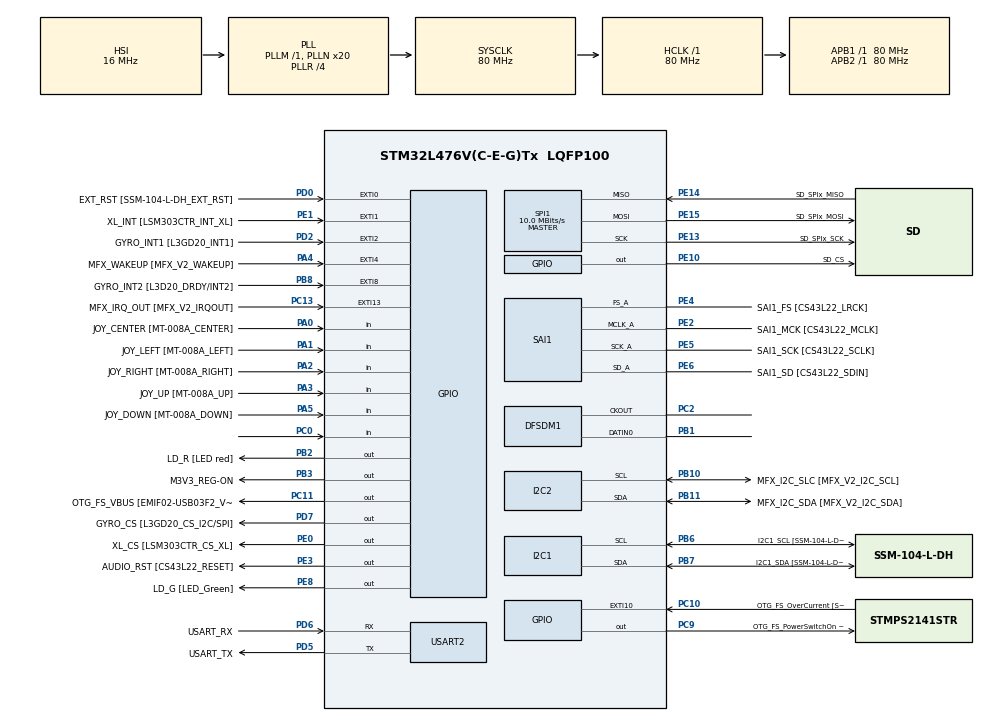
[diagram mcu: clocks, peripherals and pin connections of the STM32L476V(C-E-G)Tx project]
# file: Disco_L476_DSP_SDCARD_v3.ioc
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DFSDM1.Filter_regChannel_FIL0=DFSDM_CHANNEL_0
Dma.Request0=SAI1_A
Dma.SAI1_A.0.Direction=DMA_MEMORY_TO_PERIPH
Dma.SAI1_A.0.Instance=DMA2_Channel1
Dma.SAI1_A.0.MemDataAlignment=DMA_MDATAALIGN_HALFWORD
Dma.SAI1_A.0.MemInc=DMA_MINC_ENABLE
Dma.SAI1_A.0.Mode=DMA_CIRCULAR
Dma.SAI1_A.0.PeriphDataAlignment=DMA_PDATAALIGN_HALFWORD
Dma.SAI1_A.0.PeriphInc=DMA_PINC_DISABLE
Dma.SAI1_A.0.Priority=DMA_PRIORITY_HIGH
Mcu.Family=STM32L4
Mcu.Name=STM32L476V(C-E-G)Tx
Mcu.Package=LQFP100
NVIC.DMA2_Channel1_IRQn=true\:0\:0\:false\:false\:true\:false\:true
NVIC.PriorityGroup=NVIC_PRIORITYGROUP_4
PA0.GPIO_Label=JOY_CENTER [MT-008A_CENTER]
PA0.GPIO_Mode=GPIO_MODE_INPUT
PA0.GPIO_PuPd=GPIO_PULLDOWN
PA0.Signal=GPIO_Input
PA1.GPIO_Label=JOY_LEFT [MT-008A_LEFT]
PA1.GPIO_Mode=GPIO_MODE_INPUT
PA1.GPIO_PuPd=GPIO_PULLDOWN
PA1.Signal=GPIO_Input
PA10.GPIO_Label=COM2 [GH08172T_COM2]
PA10.GPIO_Mode=GPIO_MODE_AF_PP
PA10.GPIO_PuPd=GPIO_NOPULL
PA10.GPIO_Speed=GPIO_SPEED_FREQ_LOW
PA10.Signal=LCD_COM2
PA11.GPIO_Label=OTG_FS_DM [EMIF02-USB03F2_D-out]
PA11.GPIO_Mode=GPIO_MODE_AF_PP
PA11.GPIO_PuPd=GPIO_NOPULL
PA11.GPIO_Speed=GPIO_SPEED_FREQ_VERY_HIGH
PA11.Signal=USB_OTG_FS_DM
PA12.GPIO_Label=OTG_FS_DP [EMIF02-USB03F2_D+out]
PA12.GPIO_Mode=GPIO_MODE_AF_PP
PA12.GPIO_PuPd=GPIO_NOPULL
PA12.GPIO_Speed=GPIO_SPEED_FREQ_VERY_HIGH
PA12.Signal=USB_OTG_FS_DP
PA13\ (JTMS-SWDIO).GPIO_Label=SWDIO
PA13\ (JTMS-SWDIO).Mode=Serial_Wire
PA13\ (JTMS-SWDIO).Signal=SYS_JTMS-SWDIO
PA14\ (JTCK-SWCLK).GPIO_Label=SWCLK
PA14\ (JTCK-SWCLK).Mode=Serial_Wire
PA14\ (JTCK-SWCLK).Signal=SYS_JTCK-SWCLK
PA15\ (JTDI).GPIO_Label=SEG10 [GH08172T_SEG10]
PA15\ (JTDI).GPIO_Mode=GPIO_MODE_AF_PP
PA15\ (JTDI).GPIO_PuPd=GPIO_NOPULL
PA15\ (JTDI).GPIO_Speed=GPIO_SPEED_FREQ_LOW
PA15\ (JTDI).Signal=LCD_SEG17
PA2.GPIO_Label=JOY_RIGHT [MT-008A_RIGHT]
PA2.GPIO_Mode=GPIO_MODE_INPUT
PA2.GPIO_PuPd=GPIO_PULLDOWN
PA2.Signal=GPIO_Input
PA3.GPIO_Label=JOY_UP [MT-008A_UP]
PA3.GPIO_Mode=GPIO_MODE_INPUT
PA3.GPIO_PuPd=GPIO_PULLDOWN
PA3.Signal=GPIO_Input
PA4.GPIO_Label=MFX_WAKEUP [MFX_V2_WAKEUP]
PA4.GPIO_ModeDefaultEXTI=GPIO_MODE_EVT_RISING
PA4.GPIO_PuPd=GPIO_NOPULL
PA4.Signal=GPXTI4
PA5.GPIO_Label=JOY_DOWN [MT-008A_DOWN]
PA5.GPIO_Mode=GPIO_MODE_INPUT
PA5.GPIO_PuPd=GPIO_PULLDOWN
PA5.Signal=GPIO_Input
PB1.Signal=S_DATAIN0DFSDM1
PB10.GPIO_Label=MFX_I2C_SLC [MFX_V2_I2C_SCL]
PB10.GPIO_Mode=GPIO_MODE_AF_OD
PB10.GPIO_PuPdOD=GPIO_PULLUP
PB10.GPIO_Speed=GPIO_SPEED_FREQ_VERY_HIGH
PB10.Mode=I2C
PB10.Signal=I2C2_SCL
PB11.GPIO_Label=MFX_I2C_SDA [MFX_V2_I2C_SDA]
PB11.GPIO_Mode=GPIO_MODE_AF_OD
PB11.GPIO_PuPdOD=GPIO_PULLUP
PB11.GPIO_Speed=GPIO_SPEED_FREQ_VERY_HIGH
PB11.Mode=I2C
PB11.Signal=I2C2_SDA
PB2.GPIO_Label=LD_R [LED red]
PB2.GPIO_ModeDefaultOutputPP=GPIO_MODE_OUTPUT_PP
PB2.GPIO_PuPd=GPIO_PULLUP
PB2.GPIO_Speed=GPIO_SPEED_FREQ_VERY_HIGH
PB2.Signal=GPIO_Output
PB3\ (JTDO-TRACESWO).GPIO_Label=M3V3_REG-ON
PB3\ (JTDO-TRACESWO).GPIO_ModeDefaultOutputPP=GPIO_MODE_OUTPUT_PP
PB3\ (JTDO-TRACESWO).GPIO_PuPd=GPIO_NOPULL
PB3\ (JTDO-TRACESWO).GPIO_Speed=GPIO_SPEED_FREQ_LOW
PB3\ (JTDO-TRACESWO).Signal=GPIO_Output
PB6.GPIO_FM6=__NULL
PB6.GPIO_Label=I2C1_SCL [SSM-104-L-DH_SCL]
PB6.GPIO_Mode=GPIO_MODE_AF_OD
PB6.GPIO_PuPdOD=GPIO_PULLUP
PB6.GPIO_Speed=GPIO_SPEED_FREQ_VERY_HIGH
PB6.Mode=I2C
PB6.Signal=I2C1_SCL
PB7.GPIO_FM7=__NULL
PB7.GPIO_Label=I2C1_SDA [SSM-104-L-DH_SDA]
PB7.GPIO_Mode=GPIO_MODE_AF_OD
PB7.GPIO_PuPdOD=GPIO_PULLUP
PB7.GPIO_Speed=GPIO_SPEED_FREQ_VERY_HIGH
PB7.Mode=I2C
PB7.Signal=I2C1_SDA
PB8.GPIO_Label=GYRO_INT2 [L3D20_DRDY/INT2]
PB8.GPIO_ModeDefaultEXTI=GPIO_MODE_EVT_RISING
PB8.GPIO_PuPd=GPIO_NOPULL
PB8.Signal=GPXTI8
PC0.Signal=GPIO_Input
PC10.GPIO_Label=OTG_FS_OverCurrent [STMPS2141STR_FAULT]
PC10.GPIO_ModeDefaultEXTI=GPIO_MODE_EVT_RISING
PC10.GPIO_PuPd=GPIO_NOPULL
PC10.Signal=GPXTI10
PC11.GPIO_Label=OTG_FS_VBUS [EMIF02-USB03F2_Vbus]
PC11.GPIO_ModeDefaultOutputPP=GPIO_MODE_OUTPUT_PP
PC11.GPIO_PuPd=GPIO_NOPULL
PC11.GPIO_Speed=GPIO_SPEED_FREQ_LOW
PC11.Signal=GPIO_Output
PC13.GPIO_Label=MFX_IRQ_OUT [MFX_V2_IRQOUT]
PC13.GPIO_ModeDefaultEXTI=GPIO_MODE_EVT_RISING
PC13.GPIO_PuPd=GPIO_NOPULL
PC13.Signal=GPXTI13
PC14-OSC32_IN\ (PC14).Mode=LSE-External-Oscillator
PC14-OSC32_IN\ (PC14).Signal=RCC_OSC32_IN
PC15-OSC32_OUT\ (PC15).Mode=LSE-External-Oscillator
PC15-OSC32_OUT\ (PC15).Signal=RCC_OSC32_OUT
PC2.Signal=S_CKOUTDFSDM1
PC9.GPIO_Label=OTG_FS_PowerSwitchOn [STMPS2141STR_EN]
PC9.GPIO_ModeDefaultOutputPP=GPIO_MODE_OUTPUT_PP
PC9.GPIO_PuPd=GPIO_NOPULL
PC9.GPIO_Speed=GPIO_SPEED_FREQ_LOW
PC9.PinState=GPIO_PIN_SET
PC9.Signal=GPIO_Output
PD0.GPIO_Label=EXT_RST [SSM-104-L-DH_EXT_RST]
PD0.GPIO_ModeDefaultEXTI=GPIO_MODE_EVT_RISING
PD0.GPIO_PuPd=GPIO_NOPULL
PD0.Signal=GPXTI0
PD2.GPIO_Label=GYRO_INT1 [L3GD20_INT1]
PD2.GPIO_ModeDefaultEXTI=GPIO_MODE_EVT_RISING
PD2.GPIO_PuPd=GPIO_NOPULL
PD2.Signal=GPXTI2
PD5.GPIO_Label=USART_TX
PD5.GPIO_Mode=GPIO_MODE_AF_PP
PD5.GPIO_PuPd=GPIO_PULLUP
PD5.GPIO_Speed=GPIO_SPEED_FREQ_VERY_HIGH
PD5.Mode=Asynchronous
PD5.Signal=USART2_TX
PD6.GPIO_Label=USART_RX
PD6.GPIO_Mode=GPIO_MODE_AF_PP
PD6.GPIO_PuPd=GPIO_PULLUP
PD6.GPIO_Speed=GPIO_SPEED_FREQ_VERY_HIGH
PD6.Mode=Asynchronous
PD6.Signal=USART2_RX
PD7.GPIO_Label=GYRO_CS [L3GD20_CS_I2C/SPI]
PD7.GPIO_ModeDefaultOutputPP=GPIO_MODE_OUTPUT_PP
PD7.GPIO_PuPd=GPIO_NOPULL
PD7.GPIO_Speed=GPIO_SPEED_FREQ_VERY_HIGH
PD7.Signal=GPIO_Output
PE0.GPIO_Label=XL_CS [LSM303CTR_CS_XL]
PE0.GPIO_ModeDefaultOutputPP=GPIO_MODE_OUTPUT_PP
PE0.GPIO_PuPd=GPIO_NOPULL
PE0.GPIO_Speed=GPIO_SPEED_FREQ_LOW
PE0.Signal=GPIO_Output
PE1.GPIO_Label=XL_INT [LSM303CTR_INT_XL]
PE1.GPIO_ModeDefaultEXTI=GPIO_MODE_EVT_RISING
PE1.GPIO_PuPd=GPIO_NOPULL
PE1.Signal=GPXTI1
PE10.GPIO_Label=SD_CS
PE10.Signal=GPIO_Output
PE13.GPIO_Label=SD_SPIx_SCK
PE13.Mode=Full_Duplex_Master
PE13.Signal=SPI1_SCK
PE14.GPIO_Label=SD_SPIx_MISO
PE14.Mode=Full_Duplex_Master
PE14.Signal=SPI1_MISO
PE15.GPIO_Label=SD_SPIx_MOSI
PE15.Mode=Full_Duplex_Master
PE15.Signal=SPI1_MOSI
PE2.GPIO_Label=SAI1_MCK [CS43L22_MCLK]
PE2.GPIO_Mode=GPIO_MODE_AF_PP
PE2.GPIO_PuPd=GPIO_NOPULL
PE2.GPIO_Speed=GPIO_SPEED_FREQ_VERY_HIGH
PE2.Mode=SAI_A_MasterWithClock
PE2.Signal=SAI1_MCLK_A
PE3.GPIO_Label=AUDIO_RST [CS43L22_RESET]
PE3.GPIO_ModeDefaultOutputPP=GPIO_MODE_OUTPUT_PP
PE3.GPIO_PuPd=GPIO_NOPULL
PE3.GPIO_Speed=GPIO_SPEED_FREQ_HIGH
PE3.Signal=GPIO_Output
PE4.GPIO_Label=SAI1_FS [CS43L22_LRCK]
PE4.GPIO_Mode=GPIO_MODE_AF_PP
PE4.GPIO_PuPd=GPIO_NOPULL
PE4.GPIO_Speed=GPIO_SPEED_FREQ_VERY_HIGH
PE4.Mode=SAI_A_MasterWithClock
PE4.Signal=SAI1_FS_A
PE5.GPIO_Label=SAI1_SCK [CS43L22_SCLK]
PE5.GPIO_Mode=GPIO_MODE_AF_PP
PE5.GPIO_PuPd=GPIO_NOPULL
PE5.GPIO_Speed=GPIO_SPEED_FREQ_VERY_HIGH
PE5.Mode=SAI_A_MasterWithClock
PE5.Signal=SAI1_SCK_A
PE6.GPIO_Label=SAI1_SD [CS43L22_SDIN]
PE6.GPIO_Mode=GPIO_MODE_AF_PP
PE6.GPIO_PuPd=GPIO_NOPULL
PE6.GPIO_Speed=GPIO_SPEED_FREQ_VERY_HIGH
PE6.Mode=SAI_A_MasterWithClock
PE6.Signal=SAI1_SD_A
PE7.GPIO_Label=AUDIO_DIN [MP34DT01_DOUT]
PE7.GPIO_Mode=GPIO_MODE_AF_PP
PE7.GPIO_PuPd=GPIO_NOPULL
PE7.GPIO_Speed=GPIO_SPEED_FREQ_VERY_HIGH
PE7.Signal=SAI1_SD_B
PE8.GPIO_Label=LD_G [LED_Green]
PE8.GPIO_ModeDefaultOutputPP=GPIO_MODE_OUTPUT_PP
PE8.GPIO_PuPd=GPIO_PULLUP
PE8.GPIO_Speed=GPIO_SPEED_FREQ_VERY_HIGH
PE8.Signal=GPIO_Output
PE9.GPIO_Label=AUDIO_CLK [MP34DT01_CLK]
PE9.GPIO_Mode=GPIO_MODE_AF_PP
PE9.GPIO_PuPd=GPIO_NOPULL
PE9.GPIO_Speed=GPIO_SPEED_FREQ_LOW
PE9.Signal=SAI1_FS_B
PH0-OSC_IN\ (PH0).Mode=HSE-External-Oscillator
PH0-OSC_IN\ (PH0).Signal=RCC_OSC_IN
PH1-OSC_OUT\ (PH1).Mode=HSE-External-Oscillator
PH1-OSC_OUT\ (PH1).Signal=RCC_OSC_OUT
ProjectManager.HeapSize=0x200
ProjectManager.StackSize=0x400
ProjectManager.TargetToolchain=STM32CubeIDE
RCC.ADCFreq_Value=96000000
RCC.AHBFreq_Value=80000000
RCC.APB1Freq_Value=80000000
RCC.APB1TimFreq_Value=80000000
RCC.APB2Freq_Value=80000000
RCC.APB2TimFreq_Value=80000000
RCC.CortexFreq_Value=80000000
RCC.HCLKFreq_Value=80000000
RCC.HSE_VALUE=8000000
RCC.HSI_VALUE=16000000
RCC.MSI_VALUE=4000000
RCC.PLLN=20
RCC.PLLR=RCC_PLLR_DIV4
RCC.PLLSAI1N=12
RCC.PLLSAI1P=RCC_PLLP_DIV17
RCC.PLLSourceVirtual=RCC_PLLSOURCE_HSI
RCC.PREFETCH_ENABLE=1
RCC.SYSCLKFreq_VALUE=80000000
RCC.SYSCLKSource=RCC_SYSCLKSOURCE_PLLCLK
RCC.USBFreq_Value=96000000
RCC.VCOOutputFreq_Value=320000000
SAI1.ActiveFrameLength-SAI_A_MasterWithClock=16
SAI1.AudioFrequency-SAI_A_MasterWithClock=SAI_AUDIO_FREQUENCY_44K
SAI1.DataSize-SAI_A_MasterWithClock=SAI_DATASIZE_16
SAI1.ErrorAudioFreq-SAI_A_MasterWithClock=0.26 %
SAI1.FIFOThreshold-SAI_A_MasterWithClock=SAI_FIFOTHRESHOLD_1QF
SAI1.FSOffset-SAI_A_MasterWithClock=SAI_FS_BEFOREFIRSTBIT
SAI1.FirstBitOffset-SAI_A_MasterWithClock=0
SAI1.FrameLength-SAI_A_MasterWithClock=32
SAI1.Instance-SAI_A_MasterWithClock=SAI$Index_Block_A
SAI1.MClockEnable-SAI_A_MasterWithClock=SAI_MASTERCLOCK_ENABLE
SAI1.OutputDrive-SAI_A_MasterWithClock=SAI_OUTPUTDRIVE_ENABLE
SAI1.RealAudioFreq-SAI_A_MasterWithClock=44.117 KHz
SAI1.SlotActive-SAI_A_MasterWithClock=0x0000FFFF
SAI1.SlotNumber-SAI_A_MasterWithClock=2
SAI1.VirtualMode-SAI_A_MasterWithClock=VM_MASTER
SAI1.VirtualSlotActive-SAI_A_MasterWithClock=SAI_SLOTACTIVE_ALL
SH.S_CKOUTDFSDM1.0=DFSDM1_CKOUT,PDM_SPI_input_from_ch0_and_internal_clock
SH.S_DATAIN0DFSDM1.0=DFSDM1_DATIN0,PDM_SPI_input_from_ch0_and_internal_clock
SPI1.BaudRatePrescaler=SPI_BAUDRATEPRESCALER_8
SPI1.CalculateBaudRate=10.0 MBits/s
SPI1.DataSize=SPI_DATASIZE_8BIT
SPI1.Direction=SPI_DIRECTION_2LINES
SPI1.Mode=SPI_MODE_MASTER
SPI1.VirtualType=VM_MASTER
USART2.VirtualMode-Asynchronous=VM_ASYNC
board=STM32L476G-DISCO

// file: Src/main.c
/* USER CODE BEGIN Header */
/**
 ******************************************************************************
 * @file           : main.c
 * @brief          : Main program body
 ******************************************************************************
 * @attention
 *
 * <h2><center>&copy; Copyright (c) 2020 STMicroelectronics.
 * All rights reserved.</center></h2>
 *
 * This software component is licensed by ST under Ultimate Liberty license
 * SLA0044, the "License"; You may not use this file except in compliance with
 * the License. You may obtain a copy of the License at:
 *                             www.st.com/SLA0044
 *
 ******************************************************************************
 */
/* USER CODE END Header */

#include "main.h"

/* USER CODE BEGIN Includes */
#include "ff_gen_drv.h"
#include <math.h>
/* USER CODE END Includes */

DFSDM_Filter_HandleTypeDef hdfsdm1_filter0;
DFSDM_Channel_HandleTypeDef hdfsdm1_channel0;

I2C_HandleTypeDef hi2c1;
I2C_HandleTypeDef hi2c2;

SAI_HandleTypeDef hsai_BlockA1;
DMA_HandleTypeDef hdma_sai1_a;

SPI_HandleTypeDef hspi1;

UART_HandleTypeDef huart2;

/* USER CODE BEGIN PV */

/*
#define AUDIO_BUFFER_SIZE           (1024) // (1024 * 8)    // Size (in bytes) of the buffer containing the PCM samples
#define WAV_FILE_HEADER_SIZE        44              		// Size (in bytes) of a WAV header

FIL                       File;

uint8_t                   Buffer[AUDIO_BUFFER_SIZE];    // Buffer containig the PCM samples to play
uint32_t                  ActualPosition;               // Actual read offset
*/

FATFS FatFs;
char USER_Path[4];  /* USER logical drive path */
static uint8_t buffer[_MAX_SS]; /* a work buffer for the f_mkfs() */

uint8_t SerialFlag = 0;
uint8_t SerialCmd = 0;

// #define FIR_DEBUG
#ifdef FIR_DEBUG
#define BUFFER_SIZE_U8     64
#define BUFFER_SIZE_U16    (BUFFER_SIZE_U8/2)
#define BUFFER_SIZE_U32    (BUFFER_SIZE_U8/4)

#define BLOCK_SIZE_U8       32
#define BLOCK_SIZE_U16      (BLOCK_SIZE_U8/2)

static uint32_t blockSize = BLOCK_SIZE_U16;  					// 16-bit integer data is stored in a 32-bit real array
static uint32_t numBlocks = BUFFER_SIZE_U16/BLOCK_SIZE_U16;

#define NUM_TAPS0                       4
float32_t aFIR_F32_Coeffs0[NUM_TAPS0] = {
		   0.1f, 0.2f, 0.3f, 0.4f
};

float32_t 	firStateF32[BLOCK_SIZE_U16 + NUM_TAPS0 - 1];
float32_t 	aFIR_F32_Input [BUFFER_SIZE_U16];  // 16-bit integer data is stored in a 32-bit real array
float32_t 	aFIR_F32_Output[BUFFER_SIZE_U16];

typedef union
{
	uint32_t                    u32[BUFFER_SIZE_U32];
	uint16_t                    u16[BUFFER_SIZE_U16];
	uint8_t                     u8 [BUFFER_SIZE_U8 ];
} UINT_BUFFER;

UINT_BUFFER uint_buffer;
#endif
/* USER CODE END PV */

void SystemClock_Config(void);
static void MX_GPIO_Init(void);
static void MX_DMA_Init(void);
static void MX_I2C1_Init(void);
static void MX_I2C2_Init(void);
static void MX_SAI1_Init(void);
static void MX_USART2_UART_Init(void);
static void MX_SPI1_Init(void);
static void MX_DFSDM1_Init(void);
/* USER CODE BEGIN PFP */

void Error_Handler(void);

/* USER CODE END PFP */

/* USER CODE BEGIN 0 */

void generateArray(int16_t* AUDIO_SAMPLE){
	//*IF YOU CHANGE THESE PARAMETERS, YOU MUST ALSO CHANGE THE ARRAY SIZE OF SAMPLES*//
	int Amp = 32767; //amplitude of wave (within 16bit signed integer)
	Amp=2000;
	int SR = 44000; //sample rate of I2S channel
	int freq = 400; //frequency of sine wave you want to produce
	int i;
	for(i=0; i < (2*SR/freq); i++){ //mult SR/Freq by 2 b/c of two channels
		if(i%2){
			AUDIO_SAMPLE[i] = (int16_t) Amp*sin(2*M_PI*(i/(2.0*SR/freq))); //right channel
		}
		else
			AUDIO_SAMPLE[i]= (int16_t) Amp*sin(2*M_PI*(i/(4.0*SR/freq)));; //left channel
	}
}

#ifdef __GNUC__
/* With GCC, small printf (option LD Linker->Libraries->Small printf
     set to 'Yes') calls __io_putchar() */
#define PUTCHAR_PROTOTYPE int __io_putchar(int ch)
#else
#define PUTCHAR_PROTOTYPE int fputc(int ch, FILE *f)
#endif /* __GNUC__ */

/* Private functions ---------------------------------------------------------*/
/**
 * @brief  Retargets the C library printf function to the USART.
 * @param  None
 * @retval None
 */
PUTCHAR_PROTOTYPE
{
	/* Place your implementation of fputc here */
	/* e.g. write a character to the EVAL_COM1 and Loop until the end of transmission */
	HAL_UART_Transmit(&huart2, (uint8_t *)&ch, 1, 0xFFFF);

	return ch;
}

void HAL_UART_RxCpltCallback(UART_HandleTypeDef *huart);
/* USER CODE END 0 */

int main(void)
{

  /* MCU Configuration--------------------------------------------------------*/

  /* Reset of all peripherals, Initializes the Flash interface and the Systick. */
  HAL_Init();

  /* Configure the system clock */
  SystemClock_Config();

  /* Initialize all configured peripherals */
  MX_GPIO_Init();
  MX_DMA_Init();
  MX_I2C1_Init();
  MX_I2C2_Init();
  MX_SAI1_Init();
  MX_USART2_UART_Init();
  MX_SPI1_Init();
  MX_DFSDM1_Init();
  /* USER CODE BEGIN 2 */

#ifdef FIR_DEBUG
  static 	arm_fir_instance_f32 FIR_F32_Struct;

  /* Call FIR init function to initialize the instance structure. */
  arm_fir_init_f32(&FIR_F32_Struct, NUM_TAPS0, (float32_t *)&aFIR_F32_Coeffs0[0], &firStateF32[0], blockSize);

	for (uint32_t i=0; i<BUFFER_SIZE_U16; i++){
		uint_buffer.u16[i]=16384;
	}

	for (uint32_t i=0; i<BUFFER_SIZE_U16; i++){
		aFIR_F32_Input[i] = (float32_t) uint_buffer.u16[i];
	}

    for (uint32_t counter_FIR_f32_p = 0; counter_FIR_f32_p < numBlocks; counter_FIR_f32_p++){
	    arm_fir_f32(&FIR_F32_Struct, aFIR_F32_Input + (counter_FIR_f32_p * blockSize), aFIR_F32_Output + (counter_FIR_f32_p * blockSize), blockSize);
		}

	for (uint32_t i=0; i<BUFFER_SIZE_U16; i++){
		uint_buffer.u16[i]=(uint16_t) (aFIR_F32_Output[i]);
		}

	for (uint32_t i=0; i<BUFFER_SIZE_U16; i++){
		printf("%8d %15.10f\n", uint_buffer.u16[i], aFIR_F32_Output[i]);
		}

	while(1){} // INFINITE LOOP
#endif

	printf("start\n");

	CS43_Init(MODE_I2S);
	CS43_SetVolume(60); // [0 - 100]
	CS43_Enable_RightLeft(CS43_RIGHT_LEFT);
	CS43_Start();

#define NODEBUGSAI
#ifdef DEBUGSAI
	#define SZ 220

	int16_t SAMPLE[SZ];
	generateArray(SAMPLE);
	HAL_SAI_DMAStop(&hsai_BlockA1);
	if (HAL_OK != HAL_SAI_Transmit_DMA(&hsai_BlockA1, (uint8_t*) SAMPLE, SZ)){
		Error_Handler();
	}
	while(1){}
#endif

	SD_IO_Init();

	if(FATFS_LinkDriver(&SD_Driver, USER_Path) == 0)
	{
		/* Register the file system object to the FatFs module */
		if(f_mount(&FatFs, (TCHAR const*)USER_Path, 1) != FR_OK)
		{
			/* FatFs Initialization Error */
			if (f_mkfs((TCHAR const*)USER_Path, FM_ANY, 0, buffer, sizeof(buffer)) != FR_OK)
			{
				Error_Handler();
			}
			else {
				/* Second trial to register the file system object */
				if(f_mount(&FatFs, (TCHAR const*)USER_Path, 1) != FR_OK)
				{
					Error_Handler();
				}
			}
		}

		/* Start the audio player */
		char filename[256];
		for (int ntrack=1; ntrack<=18; ntrack++){
			snprintf(filename, 256, "Track%-d.WAV", ntrack);
			wave_play_back(filename);
		}
	}
	/*##-11- Unlink the SD disk I/O driver ####################################*/
	FATFS_UnLinkDriver(USER_Path);
  /* USER CODE END 2 */

  /* Infinite loop */
	while (1)
	{

	}
}

void SystemClock_Config(void)
{
  RCC_OscInitTypeDef RCC_OscInitStruct = {0};
  RCC_ClkInitTypeDef RCC_ClkInitStruct = {0};
  RCC_PeriphCLKInitTypeDef PeriphClkInit = {0};

  /** Initializes the CPU, AHB and APB busses clocks
  */
  RCC_OscInitStruct.OscillatorType = RCC_OSCILLATORTYPE_HSI;
  RCC_OscInitStruct.HSIState = RCC_HSI_ON;
  RCC_OscInitStruct.HSICalibrationValue = RCC_HSICALIBRATION_DEFAULT;
  RCC_OscInitStruct.PLL.PLLState = RCC_PLL_ON;
  RCC_OscInitStruct.PLL.PLLSource = RCC_PLLSOURCE_HSI;
  RCC_OscInitStruct.PLL.PLLM = 1;
  RCC_OscInitStruct.PLL.PLLN = 20;
  RCC_OscInitStruct.PLL.PLLP = RCC_PLLP_DIV7;
  RCC_OscInitStruct.PLL.PLLQ = RCC_PLLQ_DIV2;
  RCC_OscInitStruct.PLL.PLLR = RCC_PLLR_DIV4;
  if (HAL_RCC_OscConfig(&RCC_OscInitStruct) != HAL_OK)
  {
    Error_Handler();
  }
  /** Initializes the CPU, AHB and APB busses clocks
  */
  RCC_ClkInitStruct.ClockType = RCC_CLOCKTYPE_HCLK|RCC_CLOCKTYPE_SYSCLK
                              |RCC_CLOCKTYPE_PCLK1|RCC_CLOCKTYPE_PCLK2;
  RCC_ClkInitStruct.SYSCLKSource = RCC_SYSCLKSOURCE_PLLCLK;
  RCC_ClkInitStruct.AHBCLKDivider = RCC_SYSCLK_DIV1;
  RCC_ClkInitStruct.APB1CLKDivider = RCC_HCLK_DIV1;
  RCC_ClkInitStruct.APB2CLKDivider = RCC_HCLK_DIV1;

  if (HAL_RCC_ClockConfig(&RCC_ClkInitStruct, FLASH_LATENCY_4) != HAL_OK)
  {
    Error_Handler();
  }
  PeriphClkInit.PeriphClockSelection = RCC_PERIPHCLK_USART2|RCC_PERIPHCLK_SAI1
                              |RCC_PERIPHCLK_I2C1|RCC_PERIPHCLK_I2C2
                              |RCC_PERIPHCLK_DFSDM1;
  PeriphClkInit.Usart2ClockSelection = RCC_USART2CLKSOURCE_PCLK1;
  PeriphClkInit.I2c1ClockSelection = RCC_I2C1CLKSOURCE_PCLK1;
  PeriphClkInit.I2c2ClockSelection = RCC_I2C2CLKSOURCE_PCLK1;
  PeriphClkInit.Sai1ClockSelection = RCC_SAI1CLKSOURCE_PLLSAI1;
  PeriphClkInit.Dfsdm1ClockSelection = RCC_DFSDM1CLKSOURCE_PCLK;
  PeriphClkInit.PLLSAI1.PLLSAI1Source = RCC_PLLSOURCE_HSI;
  PeriphClkInit.PLLSAI1.PLLSAI1M = 1;
  PeriphClkInit.PLLSAI1.PLLSAI1N = 12;
  PeriphClkInit.PLLSAI1.PLLSAI1P = RCC_PLLP_DIV17;
  PeriphClkInit.PLLSAI1.PLLSAI1Q = RCC_PLLQ_DIV2;
  PeriphClkInit.PLLSAI1.PLLSAI1R = RCC_PLLR_DIV2;
  PeriphClkInit.PLLSAI1.PLLSAI1ClockOut = RCC_PLLSAI1_SAI1CLK;
  if (HAL_RCCEx_PeriphCLKConfig(&PeriphClkInit) != HAL_OK)
  {
    Error_Handler();
  }
  /** Configure the main internal regulator output voltage
  */
  if (HAL_PWREx_ControlVoltageScaling(PWR_REGULATOR_VOLTAGE_SCALE1) != HAL_OK)
  {
    Error_Handler();
  }
}

static void MX_DFSDM1_Init(void)
{

  hdfsdm1_filter0.Instance = DFSDM1_Filter0;
  hdfsdm1_filter0.Init.RegularParam.Trigger = DFSDM_FILTER_SW_TRIGGER;
  hdfsdm1_filter0.Init.RegularParam.FastMode = DISABLE;
  hdfsdm1_filter0.Init.RegularParam.DmaMode = DISABLE;
  hdfsdm1_filter0.Init.FilterParam.SincOrder = DFSDM_FILTER_FASTSINC_ORDER;
  hdfsdm1_filter0.Init.FilterParam.Oversampling = 1;
  hdfsdm1_filter0.Init.FilterParam.IntOversampling = 1;
  if (HAL_DFSDM_FilterInit(&hdfsdm1_filter0) != HAL_OK)
  {
    Error_Handler();
  }
  hdfsdm1_channel0.Instance = DFSDM1_Channel0;
  hdfsdm1_channel0.Init.OutputClock.Activation = ENABLE;
  hdfsdm1_channel0.Init.OutputClock.Selection = DFSDM_CHANNEL_OUTPUT_CLOCK_SYSTEM;
  hdfsdm1_channel0.Init.OutputClock.Divider = 2;
  hdfsdm1_channel0.Init.Input.Multiplexer = DFSDM_CHANNEL_EXTERNAL_INPUTS;
  hdfsdm1_channel0.Init.Input.DataPacking = DFSDM_CHANNEL_STANDARD_MODE;
  hdfsdm1_channel0.Init.Input.Pins = DFSDM_CHANNEL_SAME_CHANNEL_PINS;
  hdfsdm1_channel0.Init.SerialInterface.Type = DFSDM_CHANNEL_SPI_RISING;
  hdfsdm1_channel0.Init.SerialInterface.SpiClock = DFSDM_CHANNEL_SPI_CLOCK_INTERNAL;
  hdfsdm1_channel0.Init.Awd.FilterOrder = DFSDM_CHANNEL_FASTSINC_ORDER;
  hdfsdm1_channel0.Init.Awd.Oversampling = 1;
  hdfsdm1_channel0.Init.Offset = 0;
  hdfsdm1_channel0.Init.RightBitShift = 0x00;
  if (HAL_DFSDM_ChannelInit(&hdfsdm1_channel0) != HAL_OK)
  {
    Error_Handler();
  }
  if (HAL_DFSDM_FilterConfigRegChannel(&hdfsdm1_filter0, DFSDM_CHANNEL_0, DFSDM_CONTINUOUS_CONV_ON) != HAL_OK)
  {
    Error_Handler();
  }

}

static void MX_I2C1_Init(void)
{

  hi2c1.Instance = I2C1;
  hi2c1.Init.Timing = 0x10909CEC;
  hi2c1.Init.OwnAddress1 = 0;
  hi2c1.Init.AddressingMode = I2C_ADDRESSINGMODE_7BIT;
  hi2c1.Init.DualAddressMode = I2C_DUALADDRESS_DISABLE;
  hi2c1.Init.OwnAddress2 = 0;
  hi2c1.Init.OwnAddress2Masks = I2C_OA2_NOMASK;
  hi2c1.Init.GeneralCallMode = I2C_GENERALCALL_DISABLE;
  hi2c1.Init.NoStretchMode = I2C_NOSTRETCH_DISABLE;
  if (HAL_I2C_Init(&hi2c1) != HAL_OK)
  {
    Error_Handler();
  }
  /** Configure Analogue filter
  */
  if (HAL_I2CEx_ConfigAnalogFilter(&hi2c1, I2C_ANALOGFILTER_ENABLE) != HAL_OK)
  {
    Error_Handler();
  }
  /** Configure Digital filter
  */
  if (HAL_I2CEx_ConfigDigitalFilter(&hi2c1, 0) != HAL_OK)
  {
    Error_Handler();
  }

}

static void MX_I2C2_Init(void)
{

  hi2c2.Instance = I2C2;
  hi2c2.Init.Timing = 0x10909CEC;
  hi2c2.Init.OwnAddress1 = 0;
  hi2c2.Init.AddressingMode = I2C_ADDRESSINGMODE_7BIT;
  hi2c2.Init.DualAddressMode = I2C_DUALADDRESS_DISABLE;
  hi2c2.Init.OwnAddress2 = 0;
  hi2c2.Init.OwnAddress2Masks = I2C_OA2_NOMASK;
  hi2c2.Init.GeneralCallMode = I2C_GENERALCALL_DISABLE;
  hi2c2.Init.NoStretchMode = I2C_NOSTRETCH_DISABLE;
  if (HAL_I2C_Init(&hi2c2) != HAL_OK)
  {
    Error_Handler();
  }
  /** Configure Analogue filter
  */
  if (HAL_I2CEx_ConfigAnalogFilter(&hi2c2, I2C_ANALOGFILTER_ENABLE) != HAL_OK)
  {
    Error_Handler();
  }
  /** Configure Digital filter
  */
  if (HAL_I2CEx_ConfigDigitalFilter(&hi2c2, 0) != HAL_OK)
  {
    Error_Handler();
  }

}

static void MX_SAI1_Init(void)
{

  hsai_BlockA1.Instance = SAI1_Block_A;
  hsai_BlockA1.Init.Protocol = SAI_FREE_PROTOCOL;
  hsai_BlockA1.Init.AudioMode = SAI_MODEMASTER_TX;
  hsai_BlockA1.Init.DataSize = SAI_DATASIZE_16;
  hsai_BlockA1.Init.FirstBit = SAI_FIRSTBIT_MSB;
  hsai_BlockA1.Init.ClockStrobing = SAI_CLOCKSTROBING_FALLINGEDGE;
  hsai_BlockA1.Init.Synchro = SAI_ASYNCHRONOUS;
  hsai_BlockA1.Init.OutputDrive = SAI_OUTPUTDRIVE_ENABLE;
  hsai_BlockA1.Init.NoDivider = SAI_MASTERDIVIDER_ENABLE;
  hsai_BlockA1.Init.FIFOThreshold = SAI_FIFOTHRESHOLD_1QF;
  hsai_BlockA1.Init.AudioFrequency = SAI_AUDIO_FREQUENCY_44K;
  hsai_BlockA1.Init.SynchroExt = SAI_SYNCEXT_DISABLE;
  hsai_BlockA1.Init.MonoStereoMode = SAI_STEREOMODE;
  hsai_BlockA1.Init.CompandingMode = SAI_NOCOMPANDING;
  hsai_BlockA1.Init.TriState = SAI_OUTPUT_NOTRELEASED;
  hsai_BlockA1.FrameInit.FrameLength = 32;
  hsai_BlockA1.FrameInit.ActiveFrameLength = 16;
  hsai_BlockA1.FrameInit.FSDefinition = SAI_FS_STARTFRAME;
  hsai_BlockA1.FrameInit.FSPolarity = SAI_FS_ACTIVE_LOW;
  hsai_BlockA1.FrameInit.FSOffset = SAI_FS_BEFOREFIRSTBIT;
  hsai_BlockA1.SlotInit.FirstBitOffset = 0;
  hsai_BlockA1.SlotInit.SlotSize = SAI_SLOTSIZE_DATASIZE;
  hsai_BlockA1.SlotInit.SlotNumber = 2;
  hsai_BlockA1.SlotInit.SlotActive = 0x0000FFFF;
  if (HAL_SAI_Init(&hsai_BlockA1) != HAL_OK)
  {
    Error_Handler();
  }

}

static void MX_SPI1_Init(void)
{

  /* SPI1 parameter configuration*/
  hspi1.Instance = SPI1;
  hspi1.Init.Mode = SPI_MODE_MASTER;
  hspi1.Init.Direction = SPI_DIRECTION_2LINES;
  hspi1.Init.DataSize = SPI_DATASIZE_8BIT;
  hspi1.Init.CLKPolarity = SPI_POLARITY_LOW;
  hspi1.Init.CLKPhase = SPI_PHASE_1EDGE;
  hspi1.Init.NSS = SPI_NSS_SOFT;
  hspi1.Init.BaudRatePrescaler = SPI_BAUDRATEPRESCALER_8;
  hspi1.Init.FirstBit = SPI_FIRSTBIT_MSB;
  hspi1.Init.TIMode = SPI_TIMODE_DISABLE;
  hspi1.Init.CRCCalculation = SPI_CRCCALCULATION_DISABLE;
  hspi1.Init.CRCPolynomial = 7;
  hspi1.Init.CRCLength = SPI_CRC_LENGTH_DATASIZE;
  hspi1.Init.NSSPMode = SPI_NSS_PULSE_ENABLE;
  if (HAL_SPI_Init(&hspi1) != HAL_OK)
  {
    Error_Handler();
  }

}

static void MX_USART2_UART_Init(void)
{

  huart2.Instance = USART2;
  huart2.Init.BaudRate = 115200;
  huart2.Init.WordLength = UART_WORDLENGTH_8B;
  huart2.Init.StopBits = UART_STOPBITS_1;
  huart2.Init.Parity = UART_PARITY_NONE;
  huart2.Init.Mode = UART_MODE_TX_RX;
  huart2.Init.HwFlowCtl = UART_HWCONTROL_NONE;
  huart2.Init.OverSampling = UART_OVERSAMPLING_16;
  huart2.Init.OneBitSampling = UART_ONE_BIT_SAMPLE_DISABLE;
  huart2.AdvancedInit.AdvFeatureInit = UART_ADVFEATURE_NO_INIT;
  if (HAL_UART_Init(&huart2) != HAL_OK)
  {
    Error_Handler();
  }

}

static void MX_DMA_Init(void)
{

  /* DMA controller clock enable */
  __HAL_RCC_DMA2_CLK_ENABLE();

  /* DMA interrupt init */
  /* DMA2_Channel1_IRQn interrupt configuration */
  HAL_NVIC_SetPriority(DMA2_Channel1_IRQn, 0, 0);
  HAL_NVIC_EnableIRQ(DMA2_Channel1_IRQn);

}

static void MX_GPIO_Init(void)
{
  GPIO_InitTypeDef GPIO_InitStruct = {0};

  /* GPIO Ports Clock Enable */
  __HAL_RCC_GPIOE_CLK_ENABLE();
  __HAL_RCC_GPIOC_CLK_ENABLE();
  __HAL_RCC_GPIOH_CLK_ENABLE();
  __HAL_RCC_GPIOA_CLK_ENABLE();
  __HAL_RCC_GPIOB_CLK_ENABLE();
  __HAL_RCC_GPIOD_CLK_ENABLE();

  /*Configure GPIO pin Output Level */
  HAL_GPIO_WritePin(GPIOE, AUDIO_RST_Pin|LD_G_Pin|SD_CS_Pin|XL_CS_Pin, GPIO_PIN_RESET);

  /*Configure GPIO pin Output Level */
  HAL_GPIO_WritePin(GPIOB, LD_R_Pin|M3V3_REG_ON_Pin, GPIO_PIN_RESET);

  /*Configure GPIO pin Output Level */
  HAL_GPIO_WritePin(OTG_FS_PowerSwitchOn_GPIO_Port, OTG_FS_PowerSwitchOn_Pin, GPIO_PIN_SET);

  /*Configure GPIO pin Output Level */
  HAL_GPIO_WritePin(OTG_FS_VBUS_GPIO_Port, OTG_FS_VBUS_Pin, GPIO_PIN_RESET);

  /*Configure GPIO pin Output Level */
  HAL_GPIO_WritePin(GYRO_CS_GPIO_Port, GYRO_CS_Pin, GPIO_PIN_RESET);

  /*Configure GPIO pin : AUDIO_RST_Pin */
  GPIO_InitStruct.Pin = AUDIO_RST_Pin;
  GPIO_InitStruct.Mode = GPIO_MODE_OUTPUT_PP;
  GPIO_InitStruct.Pull = GPIO_NOPULL;
  GPIO_InitStruct.Speed = GPIO_SPEED_FREQ_HIGH;
  HAL_GPIO_Init(AUDIO_RST_GPIO_Port, &GPIO_InitStruct);

  /*Configure GPIO pins : MFX_IRQ_OUT_Pin OTG_FS_OverCurrent_Pin */
  GPIO_InitStruct.Pin = MFX_IRQ_OUT_Pin|OTG_FS_OverCurrent_Pin;
  GPIO_InitStruct.Mode = GPIO_MODE_EVT_RISING;
  GPIO_InitStruct.Pull = GPIO_NOPULL;
  HAL_GPIO_Init(GPIOC, &GPIO_InitStruct);

  /*Configure GPIO pin : PC0 */
  GPIO_InitStruct.Pin = GPIO_PIN_0;
  GPIO_InitStruct.Mode = GPIO_MODE_INPUT;
  GPIO_InitStruct.Pull = GPIO_NOPULL;
  HAL_GPIO_Init(GPIOC, &GPIO_InitStruct);

  /*Configure GPIO pins : JOY_CENTER_Pin JOY_LEFT_Pin JOY_RIGHT_Pin JOY_UP_Pin
                           JOY_DOWN_Pin */
  GPIO_InitStruct.Pin = JOY_CENTER_Pin|JOY_LEFT_Pin|JOY_RIGHT_Pin|JOY_UP_Pin
                          |JOY_DOWN_Pin;
  GPIO_InitStruct.Mode = GPIO_MODE_INPUT;
  GPIO_InitStruct.Pull = GPIO_PULLDOWN;
  HAL_GPIO_Init(GPIOA, &GPIO_InitStruct);

  /*Configure GPIO pin : MFX_WAKEUP_Pin */
  GPIO_InitStruct.Pin = MFX_WAKEUP_Pin;
  GPIO_InitStruct.Mode = GPIO_MODE_EVT_RISING;
  GPIO_InitStruct.Pull = GPIO_NOPULL;
  HAL_GPIO_Init(MFX_WAKEUP_GPIO_Port, &GPIO_InitStruct);

  /*Configure GPIO pin : LD_R_Pin */
  GPIO_InitStruct.Pin = LD_R_Pin;
  GPIO_InitStruct.Mode = GPIO_MODE_OUTPUT_PP;
  GPIO_InitStruct.Pull = GPIO_PULLUP;
  GPIO_InitStruct.Speed = GPIO_SPEED_FREQ_VERY_HIGH;
  HAL_GPIO_Init(LD_R_GPIO_Port, &GPIO_InitStruct);

  /*Configure GPIO pin : LD_G_Pin */
  GPIO_InitStruct.Pin = LD_G_Pin;
  GPIO_InitStruct.Mode = GPIO_MODE_OUTPUT_PP;
  GPIO_InitStruct.Pull = GPIO_PULLUP;
  GPIO_InitStruct.Speed = GPIO_SPEED_FREQ_VERY_HIGH;
  HAL_GPIO_Init(LD_G_GPIO_Port, &GPIO_InitStruct);

  /*Configure GPIO pins : SD_CS_Pin XL_CS_Pin */
  GPIO_InitStruct.Pin = SD_CS_Pin|XL_CS_Pin;
  GPIO_InitStruct.Mode = GPIO_MODE_OUTPUT_PP;
  GPIO_InitStruct.Pull = GPIO_NOPULL;
  GPIO_InitStruct.Speed = GPIO_SPEED_FREQ_LOW;
  HAL_GPIO_Init(GPIOE, &GPIO_InitStruct);

  /*Configure GPIO pins : OTG_FS_PowerSwitchOn_Pin OTG_FS_VBUS_Pin */
  GPIO_InitStruct.Pin = OTG_FS_PowerSwitchOn_Pin|OTG_FS_VBUS_Pin;
  GPIO_InitStruct.Mode = GPIO_MODE_OUTPUT_PP;
  GPIO_InitStruct.Pull = GPIO_NOPULL;
  GPIO_InitStruct.Speed = GPIO_SPEED_FREQ_LOW;
  HAL_GPIO_Init(GPIOC, &GPIO_InitStruct);

  /*Configure GPIO pins : COM2_Pin SEG10_Pin */
  GPIO_InitStruct.Pin = COM2_Pin|SEG10_Pin;
  GPIO_InitStruct.Mode = GPIO_MODE_AF_PP;
  GPIO_InitStruct.Pull = GPIO_NOPULL;
  GPIO_InitStruct.Speed = GPIO_SPEED_FREQ_LOW;
  GPIO_InitStruct.Alternate = GPIO_AF11_LCD;
  HAL_GPIO_Init(GPIOA, &GPIO_InitStruct);

  /*Configure GPIO pins : OTG_FS_DM_Pin OTG_FS_DP_Pin */
  GPIO_InitStruct.Pin = OTG_FS_DM_Pin|OTG_FS_DP_Pin;
  GPIO_InitStruct.Mode = GPIO_MODE_AF_PP;
  GPIO_InitStruct.Pull = GPIO_NOPULL;
  GPIO_InitStruct.Speed = GPIO_SPEED_FREQ_VERY_HIGH;
  GPIO_InitStruct.Alternate = GPIO_AF10_OTG_FS;
  HAL_GPIO_Init(GPIOA, &GPIO_InitStruct);

  /*Configure GPIO pins : EXT_RST_Pin GYRO_INT1_Pin */
  GPIO_InitStruct.Pin = EXT_RST_Pin|GYRO_INT1_Pin;
  GPIO_InitStruct.Mode = GPIO_MODE_EVT_RISING;
  GPIO_InitStruct.Pull = GPIO_NOPULL;
  HAL_GPIO_Init(GPIOD, &GPIO_InitStruct);

  /*Configure GPIO pin : GYRO_CS_Pin */
  GPIO_InitStruct.Pin = GYRO_CS_Pin;
  GPIO_InitStruct.Mode = GPIO_MODE_OUTPUT_PP;
  GPIO_InitStruct.Pull = GPIO_NOPULL;
  GPIO_InitStruct.Speed = GPIO_SPEED_FREQ_VERY_HIGH;
  HAL_GPIO_Init(GYRO_CS_GPIO_Port, &GPIO_InitStruct);

  /*Configure GPIO pin : M3V3_REG_ON_Pin */
  GPIO_InitStruct.Pin = M3V3_REG_ON_Pin;
  GPIO_InitStruct.Mode = GPIO_MODE_OUTPUT_PP;
  GPIO_InitStruct.Pull = GPIO_NOPULL;
  GPIO_InitStruct.Speed = GPIO_SPEED_FREQ_LOW;
  HAL_GPIO_Init(M3V3_REG_ON_GPIO_Port, &GPIO_InitStruct);

  /*Configure GPIO pin : GYRO_INT2_Pin */
  GPIO_InitStruct.Pin = GYRO_INT2_Pin;
  GPIO_InitStruct.Mode = GPIO_MODE_EVT_RISING;
  GPIO_InitStruct.Pull = GPIO_NOPULL;
  HAL_GPIO_Init(GYRO_INT2_GPIO_Port, &GPIO_InitStruct);

  /*Configure GPIO pin : XL_INT_Pin */
  GPIO_InitStruct.Pin = XL_INT_Pin;
  GPIO_InitStruct.Mode = GPIO_MODE_EVT_RISING;
  GPIO_InitStruct.Pull = GPIO_NOPULL;
  HAL_GPIO_Init(XL_INT_GPIO_Port, &GPIO_InitStruct);

}

/* USER CODE BEGIN 4 */

void HAL_UART_RxCpltCallback(UART_HandleTypeDef *huart)
{
	if(huart->Instance == USART2)
	{
		SerialFlag = 1;
		HAL_UART_Receive_IT(&huart2, &SerialCmd, 1);
	}
}

/**
 * @brief  Initializes the SD Card and put it into StandBy State (Ready for
 *         data transfer).
 */
void SD_IO_Init(void)
{
	GPIO_InitTypeDef  GPIO_InitStruct;
	uint8_t counter;

	/* SD_CS_GPIO Periph clock enable */
	SD_CS_GPIO_CLK_ENABLE();

	/* Configure SD_CS_PIN pin: SD Card CS pin */
	GPIO_InitStruct.Pin = SD_CS_Pin;
	GPIO_InitStruct.Mode = GPIO_MODE_OUTPUT_PP;
	GPIO_InitStruct.Pull = GPIO_PULLUP;
	GPIO_InitStruct.Speed = GPIO_SPEED_HIGH;
	HAL_GPIO_Init(SD_CS_GPIO_Port, &GPIO_InitStruct);

	/*------------Put SD in SPI mode--------------*/
	/* SD SPI Config */
	MX_SPI1_Init();

	/* SD chip select high */
	SD_CS_HIGH();

	/* Send dummy byte 0xFF, 10 times with CS high */
	/* Rise CS and MOSI for 80 clocks cycles */
	for (counter = 0; counter <= 9; counter++)
	{
		/* Send dummy byte 0xFF */
		SD_IO_WriteByte(SD_DUMMY_BYTE);
	}
}

/**
 * @brief Set the SD_CS pin.
 * @param val: pin value.
 */
void SD_IO_CSState(uint8_t val)
{
	if(val == 1)
	{
		SD_CS_HIGH();
	}
	else
	{
		SD_CS_LOW();
	}
}

/**
 * @brief  SPI error treatment function.
 */
static void SPIx_Error (void)
{
	/* De-initialize the SPI communication BUS */
	HAL_SPI_DeInit(&hspi1);

	/* Re-Initiaize the SPI communication BUS */
	MX_SPI1_Init();
}

/**
 * @brief  SPI Write a byte to device.
 * @param  Value: value to be written
 */
//static void SPIx_Write(uint8_t Value)
//{
//	HAL_StatusTypeDef status = HAL_OK;
//	uint8_t data;
//
//	status = HAL_SPI_TransmitReceive(&hspi1, (uint8_t*) &Value, &data, 1, SPIx_TIMEOUT_MAX);
//
//	/* Check the communication status */
//	if(status != HAL_OK)
//	{
//		/* Execute user timeout callback */
//		SPIx_Error();
//	}
//}

/**
 * @brief  SPI Write a byte to device
 * @param  DataIn: value to be written
 * @param  DataOut: value to be read
 * @param  DataLegnth: length of data
 */
static void SPIx_WriteReadData(const uint8_t *DataIn, uint8_t *DataOut, uint16_t DataLegnth)
{
	HAL_StatusTypeDef status = HAL_OK;

	status = HAL_SPI_TransmitReceive(&hspi1, (uint8_t*) DataIn, DataOut, DataLegnth, SPIx_TIMEOUT_MAX);

	/* Check the communication status */
	if(status != HAL_OK)
	{
		/* Execute user timeout callback */
		SPIx_Error();
	}
}
/**
 * @brief Write a byte on the SD.
 * @param  DataIn: value to be written
 * @param  DataOut: value to be read
 * @param  DataLength: length of data
 */
void SD_IO_WriteReadData(const uint8_t *DataIn, uint8_t *DataOut, uint16_t DataLength)
{
	/* Send the byte */
	SPIx_WriteReadData(DataIn, DataOut, DataLength);
}

/**
 * @brief  Writes a byte on the SD.
 * @param  Data: byte to send.
 */
uint8_t SD_IO_WriteByte(uint8_t Data)
{
	uint8_t tmp;
	/* Send the byte */
	SPIx_WriteReadData(&Data,&tmp,1);
	return tmp;
}

/* USER CODE END 4 */

void Error_Handler(void)
{
}

/************************ (C) COPYRIGHT STMicroelectronics *****END OF FILE****/
